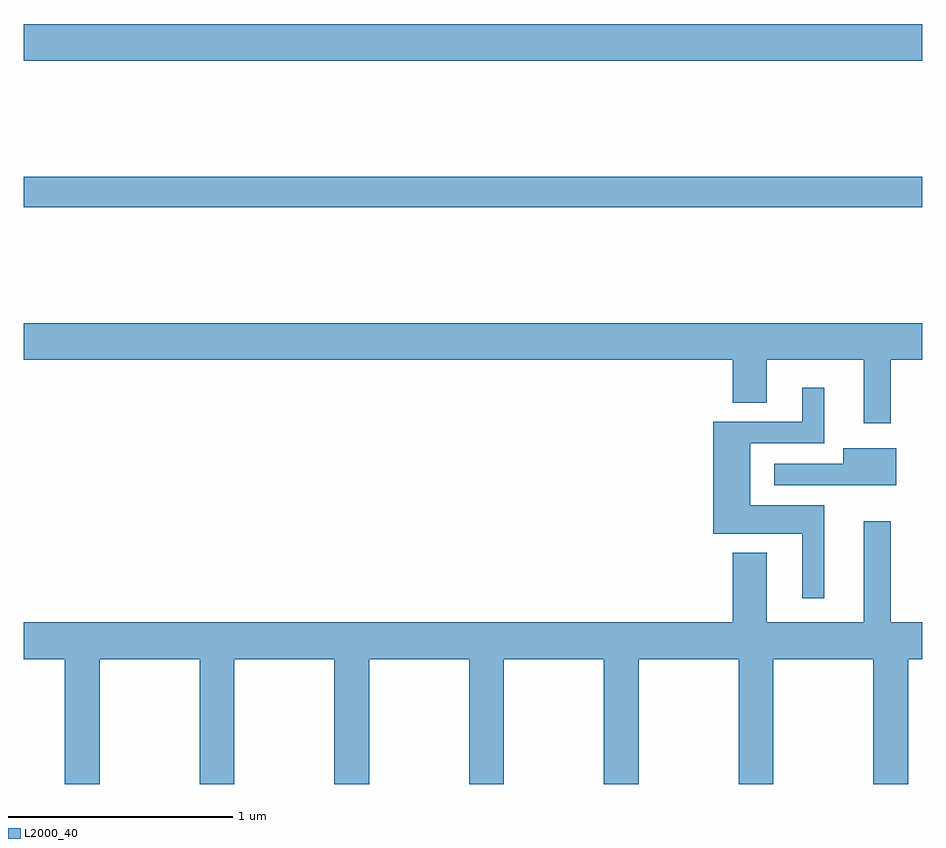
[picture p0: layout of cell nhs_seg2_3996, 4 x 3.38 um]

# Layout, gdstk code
import gdstk
lib = gdstk.Library(unit=1e-6, precision=1e-09)
def R(c, l, rs):  # rectangles x0, y0, x1, y1
    for r in rs: c.add(gdstk.rectangle(r[:2], r[2:], *l))
def P(c, l, *ps):  # polygons
    for p in ps: c.add(gdstk.Polygon(p, *l))
L2000_40 = (2000, 40)

nhs_seg2_3996 = lib.new_cell('nhs_seg2_3996')
R(nhs_seg2_3996, L2000_40, [(325,596.368,329,596.504), (325,597.02,329,597.184)])
P(nhs_seg2_3996, L2000_40, [(328.861,595.688),(329,595.688),(329,595.852),(325,595.852),(325,595.688),(328.157,595.688),(328.157,595.498),(328.309,595.498),(328.309,595.688),(328.739,595.688),(328.739,595.407),(328.861,595.407)],
  [(328.564,595.042),(328.234,595.042),(328.234,595.317),(328.564,595.317),(328.564,595.564),(328.466,595.564),(328.466,595.413),(328.07,595.413),(328.07,594.914),(328.466,594.914),(328.466,594.627),(328.564,594.627)],
  [(328.885,595.294),(328.649,595.294),(328.649,595.227),(328.341,595.227),(328.341,595.131),(328.653,595.131),(328.653,595.13),(328.885,595.13)],
  [(325.338,594.356),(325.783,594.356),(325.783,593.8),(325.938,593.8),(325.938,594.356),(326.383,594.356),(326.383,593.8),(326.538,593.8),(326.538,594.356),(326.983,594.356),(326.983,593.8),(327.138,593.8),(327.138,594.356),(327.583,594.356),(327.583,593.8),(327.738,593.8),(327.738,594.356),(328.183,594.356),(328.183,593.8),(328.338,593.8),(328.338,594.356),(328.783,594.356),(328.783,593.8),(328.938,593.8),(328.938,594.356),(329,594.356),(329,594.52),(328.861,594.52),(328.861,594.97),(328.739,594.97),(328.739,594.52),(328.309,594.52),(328.309,594.829),(328.157,594.829),(328.157,594.52),(325,594.52),(325,594.356),(325.183,594.356),(325.183,593.8),(325.338,593.8)])

lib.write_gds('nhs_seg2_3996.gds')
